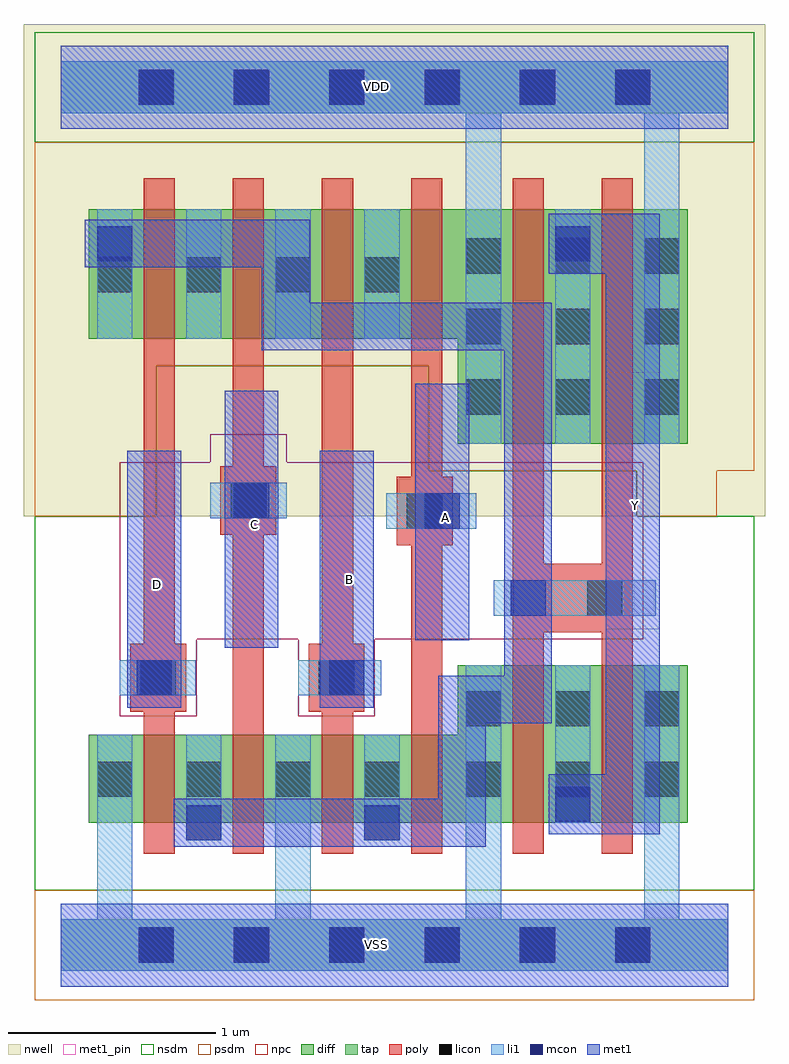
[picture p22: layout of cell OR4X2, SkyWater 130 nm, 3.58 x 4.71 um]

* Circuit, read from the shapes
.subckt OR4X2 A B C D VDD VSS Y
XM1 n1 D VSS VSS sky130_fd_pr__nfet_01v8 w=0.425 l=0.15
XM2 VSS C n1 VSS sky130_fd_pr__nfet_01v8 w=0.425 l=0.15
XM3 n1 B VSS VSS sky130_fd_pr__nfet_01v8 w=0.425 l=0.15
XM4 VSS A n1 VSS sky130_fd_pr__nfet_01v8 w=0.425 l=0.15
XM5 Y n1 VSS VSS sky130_fd_pr__nfet_01v8 w=0.76 l=0.15 m=2
XM6 n2 D n1 VDD sky130_fd_pr__pfet_01v8 w=0.625 l=0.15
XM7 n3 C n2 VDD sky130_fd_pr__pfet_01v8 w=0.625 l=0.15
XM8 n4 B n3 VDD sky130_fd_pr__pfet_01v8 w=0.625 l=0.15
XM9 VDD A n4 VDD sky130_fd_pr__pfet_01v8 w=0.625 l=0.15
XM10 Y n1 VDD VDD sky130_fd_pr__pfet_01v8 w=1.13 l=0.15 m=2
.ends

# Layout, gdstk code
from math import pi, radians
import gdstk
lib = gdstk.Library(unit=1e-6, precision=1e-09)
def R(c, l, rs):  # rectangles x0, y0, x1, y1
    for r in rs: c.add(gdstk.rectangle(r[:2], r[2:], *l))
def A(c, l, x, y, w, h, nx, ny, dx, dy):  # array of equal rectangles
    R(c, l, [(x+i*dx, y+j*dy, x+i*dx+w, y+j*dy+h) for i in range(nx) for j in range(ny)])
def P(c, l, *ps):  # polygons
    for p in ps: c.add(gdstk.Polygon(p, *l))
nwell = (64, 20)
diff = (65, 20)
tap = (65, 44)
poly = (66, 20)
licon = (66, 44)
li1 = (67, 20)
mcon = (67, 44)
met1_pin = (68, 16)
met1 = (68, 20)
nsdm = (93, 44)
psdm = (94, 20)
npc = (95, 20)

l1m1_c_cdns_751554744751 = lib.new_cell('L1M1_C_CDNS_7515547447511')
R(l1m1_c_cdns_751554744751, li1, [(-0.085,-0.085,0.085,0.165)])
R(l1m1_c_cdns_751554744751, mcon, [(-0.085,-0.085,0.085,0.085)])
R(l1m1_c_cdns_751554744751, met1, [(-0.115,-0.145,0.115,0.145)])

l1m1_c_cdns_751554744750 = lib.new_cell('L1M1_C_CDNS_751554744750')
R(l1m1_c_cdns_751554744750, li1, [(-0.165,-0.085,0.165,0.085)])
R(l1m1_c_cdns_751554744750, mcon, [(-0.085,-0.085,0.085,0.085)])
R(l1m1_c_cdns_751554744750, met1, [(-0.115,-0.145,0.115,0.145)])

l1m1_c_cdns_751554744753 = lib.new_cell('L1M1_C_CDNS_751554744753')
R(l1m1_c_cdns_751554744753, li1, [(-0.085,-0.165,0.085,0.165)])
R(l1m1_c_cdns_751554744753, mcon, [(-0.085,-0.085,0.085,0.085)])
R(l1m1_c_cdns_751554744753, met1, [(-0.115,-0.145,0.115,0.145)])

pyl1con_c_cdns_751554744 = lib.new_cell('PYL1CON_C_CDNS_751554744751')
R(pyl1con_c_cdns_751554744, poly, [(-0.135,-0.165,0.135,0.165)])
R(pyl1con_c_cdns_751554744, licon, [(-0.085,-0.085,0.085,0.085)])
R(pyl1con_c_cdns_751554744, npc, [(-0.185,-0.185,0.185,0.185)])

l1m1_c_cdns_751554744758 = lib.new_cell('L1M1_C_CDNS_751554744758')
R(l1m1_c_cdns_751554744758, li1, [(-0.085,-0.165,0.085,0.165)])
R(l1m1_c_cdns_751554744758, mcon, [(-0.085,-0.085,0.085,0.085)])
R(l1m1_c_cdns_751554744758, met1, [(-0.145,-0.115,0.145,0.115)])

l1m1_c_cdns_751554744752 = lib.new_cell('L1M1_C_CDNS_7515547447523')
R(l1m1_c_cdns_751554744752, li1, [(-0.085,-0.085,0.085,0.165)])
R(l1m1_c_cdns_751554744752, mcon, [(-0.085,-0.085,0.085,0.085)])
R(l1m1_c_cdns_751554744752, met1, [(-0.145,-0.115,0.145,0.115)])

or4x2 = lib.new_cell('OR4X2')
R(or4x2, nwell, [(-0.18,2.07,3.4,4.445)])
P(or4x2, diff, [(3.025,3.55),(0.135,3.55),(0.135,2.925),(1.915,2.925),(1.915,2.42),(3.025,2.42)],
  [(3.025,1.35),(1.915,1.35),(1.915,1.015),(0.135,1.015),(0.135,0.59),(3.025,0.59)])
A(or4x2, poly, 0.4, 0.44, 0.15, 3.26, 4, 1, 0.43, 0)
R(or4x2, poly, [(2.61,0.44,2.76,3.7)])
P(or4x2, poly, [(2.6,1.84),(2.33,1.84),(2.33,3.7),(2.18,3.7),(2.18,0.44),(2.33,0.44),(2.33,1.51),(2.6,1.51)])
A(or4x2, licon, 0.375, -0.085, 0.17, 0.17, 6, 2, 0.46, 4.14)
A(or4x2, licon, 0.175, 0.715, 0.17, 0.17, 4, 2, 0.43, 2.435)
A(or4x2, licon, 1.955, 0.715, 0.17, 0.17, 3, 2, 0.43, 0.34)
A(or4x2, licon, 1.955, 2.56, 0.17, 0.17, 3, 3, 0.43, 0.34)
A(or4x2, li1, 0.175, 2.925, 0.17, 0.625, 4, 1, 0.43, 0)
R(or4x2, li1, [(0.605,0.59,0.775,1.015), (1.465,0.59,1.635,1.015), (2.385,0.59,2.555,1.35), (2.385,2.42,2.555,3.55)])
P(or4x2, li1, [(3.22,4.265),(0,4.265),(0,4.015),(1.955,4.015),(1.955,2.42),(2.125,2.42),(2.125,4.015),(2.815,4.015),(2.815,2.42),(2.985,2.42),(2.985,4.015),(3.22,4.015)],
  [(3.22,0.125),(2.985,0.125),(2.985,1.35),(2.815,1.35),(2.815,0.125),(2.125,0.125),(2.125,1.35),(1.955,1.35),(1.955,0.125),(1.205,0.125),(1.205,1.015),(1.035,1.015),(1.035,0.125),(0.345,0.125),(0.345,1.015),(0.175,1.015),(0.175,0.125),(0,0.125),(0,-0.125),(3.22,-0.125)])
A(or4x2, mcon, 0.375, -0.085, 0.17, 0.17, 6, 2, 0.46, 4.14)
R(or4x2, met1_pin, [(0.32,1.145,0.58,2.385), (1.25,1.145,1.51,2.385), (0.79,1.435,1.05,2.675), (1.71,1.47,1.97,2.71), (2.63,1.525,2.89,2.765)])
P(or4x2, met1, [(2.37,3.1),(1.2,3.1),(1.2,3.5),(0.275,3.5),(0.275,3.27),(0.97,3.27),(0.97,2.87),(2.14,2.87),(2.14,1.3),(1.82,1.3),(1.82,0.705),(0.545,0.705),(0.545,0.475),(2.05,0.475),(2.05,1.07),(2.37,1.07)],
  [(2.89,3.53),(2.5,3.53),(2.5,3.24),(2.63,3.24),(2.63,0.825),(2.47,0.825),(2.47,0.535),(2.89,0.535)])
R(or4x2, nsdm, [(-0.125,3.875,3.345,4.405)])
P(or4x2, nsdm, [(3.345,2.07),(2.78,2.07),(2.78,2.29),(1.775,2.29),(1.775,2.795),(0.46,2.795),(0.46,2.07),(-0.125,2.07),(-0.125,0.265),(3.345,0.265)])
R(or4x2, psdm, [(-0.125,-0.265,3.345,0.265)])
P(or4x2, psdm, [(3.345,3.875),(-0.125,3.875),(-0.125,2.07),(0.46,2.07),(0.46,2.795),(1.775,2.795),(1.775,2.29),(2.78,2.29),(2.78,2.07),(3.165,2.07),(3.165,2.29),(3.345,2.29)])
P(or4x2, npc, [(2.81,2.33),(1.09,2.33),(1.09,2.465),(0.72,2.465),(0.72,2.33),(0.285,2.33),(0.285,1.475),(2.81,1.475)])
or4x2.add(gdstk.FlexPath([(0.72,2.145),(1.09,2.145)], 0.17, ends="flush", simple_path=True, layer=67, datatype=20))  # li1
or4x2.add(gdstk.FlexPath([(0.285,1.29),(0.65,1.29)], 0.17, ends="flush", simple_path=True, layer=67, datatype=20))  # li1
or4x2.add(gdstk.FlexPath([(1.145,1.29),(1.51,1.29)], 0.17, ends="flush", simple_path=True, layer=67, datatype=20))  # li1
or4x2.add(gdstk.FlexPath([(1.57,2.095),(1.94,2.095)], 0.17, ends="flush", simple_path=True, layer=67, datatype=20))  # li1
or4x2.add(gdstk.FlexPath([(2.87,1.675),(2.255,1.675)], 0.17, ends="flush", simple_path=True, layer=67, datatype=20))  # li1
or4x2.add(gdstk.FlexPath([(0,0),(3.22,0)], 0.25, ends="flush", simple_path=True, layer=65, datatype=44))  # tap
or4x2.add(gdstk.FlexPath([(0,4.14),(3.22,4.14)], 0.25, ends="flush", simple_path=True, layer=65, datatype=44))  # tap
or4x2.add(gdstk.FlexPath([(0,0),(3.22,0)], 0.4, ends="flush", simple_path=True, layer=68, datatype=20))  # met1
or4x2.add(gdstk.FlexPath([(0,4.14),(3.22,4.14)], 0.4, ends="flush", simple_path=True, layer=68, datatype=20))  # met1
or4x2.add(gdstk.FlexPath([(1.84,1.47),(1.84,2.71)], 0.26, ends="flush", simple_path=True, layer=68, datatype=20))  # met1
or4x2.add(gdstk.FlexPath([(0.45,1.145),(0.45,2.385)], 0.26, ends="flush", simple_path=True, layer=68, datatype=20))  # met1
or4x2.add(gdstk.FlexPath([(0.92,1.435),(0.92,2.675)], 0.26, ends="flush", simple_path=True, layer=68, datatype=20))  # met1
or4x2.add(gdstk.FlexPath([(1.38,1.145),(1.38,2.385)], 0.26, ends="flush", simple_path=True, layer=68, datatype=20))  # met1
or4x2.add(gdstk.FlexPath([(0,4.14),(3.22,4.14)], 0.4, ends="flush", simple_path=True, layer=68, datatype=16))  # met1_pin
or4x2.add(gdstk.FlexPath([(0,0),(3.22,0)], 0.4, ends="flush", simple_path=True, layer=68, datatype=16))  # met1_pin
or4x2.add(gdstk.Reference(l1m1_c_cdns_751554744751, (2.47,0.68)))
or4x2.add(gdstk.Reference(l1m1_c_cdns_751554744750, (1.84,2.095), x_reflection=True))
or4x2.add(gdstk.Reference(l1m1_c_cdns_751554744750, (2.255,1.675)))
or4x2.add(gdstk.Reference(l1m1_c_cdns_751554744750, (0.45,1.29), x_reflection=True))
or4x2.add(gdstk.Reference(l1m1_c_cdns_751554744750, (0.92,2.145), x_reflection=True))
or4x2.add(gdstk.Reference(l1m1_c_cdns_751554744750, (1.38,1.29), x_reflection=True))
or4x2.add(gdstk.Reference(l1m1_c_cdns_751554744753, (2.47,3.385)))
or4x2.add(gdstk.Reference(pyl1con_c_cdns_751554744, (2.625,1.675)))
or4x2.add(gdstk.Reference(pyl1con_c_cdns_751554744, (1.755,2.095), rotation=pi, x_reflection=True))
or4x2.add(gdstk.Reference(pyl1con_c_cdns_751554744, (0.47,1.29)))
or4x2.add(gdstk.Reference(pyl1con_c_cdns_751554744, (0.905,2.145)))
or4x2.add(gdstk.Reference(pyl1con_c_cdns_751554744, (1.33,1.29)))
or4x2.add(gdstk.Reference(l1m1_c_cdns_751554744758, (0.26,3.385)))
or4x2.add(gdstk.Reference(l1m1_c_cdns_751554744752, (0.69,0.59)))
or4x2.add(gdstk.Reference(l1m1_c_cdns_751554744752, (1.55,0.59)))
or4x2.add(gdstk.Label('VDD', (1.525,4.145), layer=68, texttype=5))
or4x2.add(gdstk.Label('A', (1.855,2.065), layer=68, texttype=5))
or4x2.add(gdstk.Label('VSS', (1.525,0.005), layer=68, texttype=5))
or4x2.add(gdstk.Label('D', (0.465,1.74), layer=68, texttype=5))
or4x2.add(gdstk.Label('C', (0.935,2.03), layer=68, texttype=5))
or4x2.add(gdstk.Label('B', (1.395,1.765), layer=68, texttype=5))
or4x2.add(gdstk.Label('Y', (2.775,2.12), layer=68, texttype=5))

lib.write_gds('OR4X2.gds')
